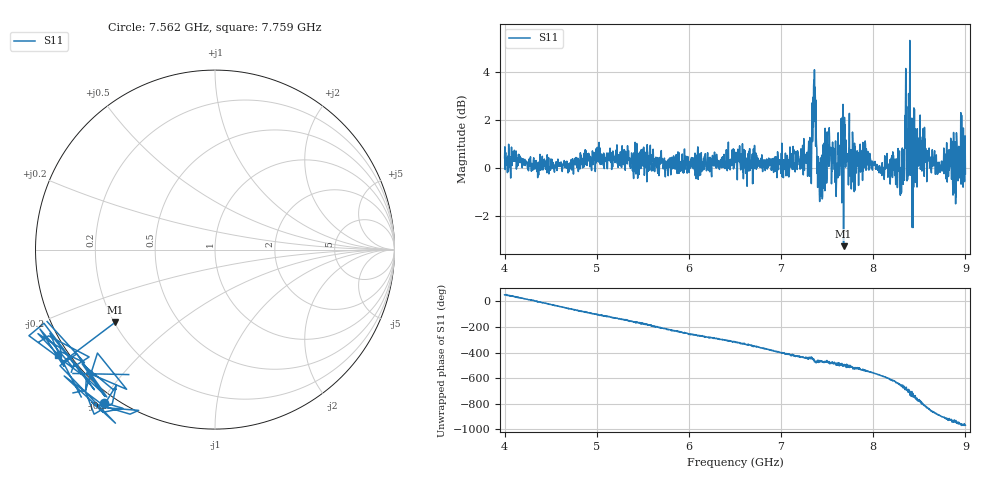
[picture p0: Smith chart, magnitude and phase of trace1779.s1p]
! Created with skrf 1.8.0 (http://scikit-rf.org).
# Hz S RI R 50.0
!freq ReS11 ImS11
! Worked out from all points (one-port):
!   1601 points, 4 GHz to 9 GHz, reference 50 ohm
!   lowest |S11| = -3.3 dB at 7.678 GHz (marker M1), VSWR 5.40, Z = 10.2 - j15.7 ohm
!   |S11| at or under -10 dB: nowhere
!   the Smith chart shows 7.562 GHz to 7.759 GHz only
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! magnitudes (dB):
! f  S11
! 4 GHz  0.4
! 4.625 GHz  -0.1
! 5.25 GHz  0.4
! 5.875 GHz  0.2
! 6.5 GHz  0.2
! 7.125 GHz  0.4
! 7.306 GHz  1.1
! 7.359 GHz  2.5
! 7.378 GHz  2.8
! 7.4 GHz  0.5
! 7.428 GHz  0.4
! 7.503 GHz  0.7
! 7.591 GHz  1.1
! 7.622 GHz  0.6
! 7.65 GHz  2.0
! 7.678 GHz  -3.3
! 7.75 GHz  0.3
! 8.312 GHz  0.7
! 8.338 GHz  -0.5
! 8.375 GHz  1.3
! 8.447 GHz  2.4
! 8.459 GHz  -0.6
! 8.525 GHz  0.0
! 8.712 GHz  0.1
! 8.831 GHz  0.0
! 8.875 GHz  0.1
! 8.972 GHz  0.4
! 9 GHz  -0.2
